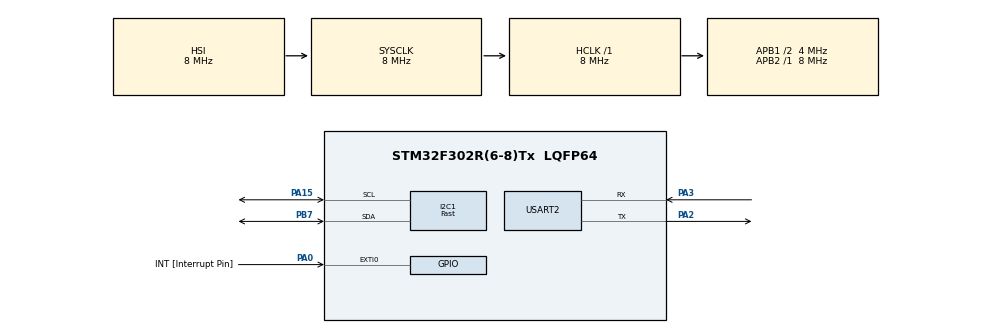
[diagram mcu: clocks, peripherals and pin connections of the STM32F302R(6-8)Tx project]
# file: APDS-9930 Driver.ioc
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I2C1.I2C_Speed_Mode=I2C_Fast
I2C1.OwnAddress=0
I2C1.Timing=0x0010020A
Mcu.Family=STM32F3
Mcu.Name=STM32F302R(6-8)Tx
Mcu.Package=LQFP64
NVIC.EXTI0_IRQn=true\:0\:0\:false\:false\:true\:true\:true\:true
NVIC.PriorityGroup=NVIC_PRIORITYGROUP_4
PA0.GPIO_Label=INT [Interrupt Pin]
PA0.GPIO_ModeDefaultEXTI=GPIO_MODE_IT_FALLING
PA0.GPIO_PuPd=GPIO_PULLUP
PA0.Signal=GPXTI0
PA13.Mode=Serial_Wire
PA13.Signal=SYS_JTMS-SWDIO
PA14.Mode=Serial_Wire
PA14.Signal=SYS_JTCK-SWCLK
PA15.GPIO_Pu=GPIO_NOPULL
PA15.Mode=I2C
PA15.Signal=I2C1_SCL
PA2.Mode=Asynchronous
PA2.Signal=USART2_TX
PA3.Mode=Asynchronous
PA3.Signal=USART2_RX
PB7.GPIO_Pu=GPIO_NOPULL
PB7.Mode=I2C
PB7.Signal=I2C1_SDA
ProjectManager.HeapSize=0x200
ProjectManager.StackSize=0x400
ProjectManager.TargetToolchain=STM32CubeIDE
RCC.AHBFreq_Value=8000000
RCC.APB1CLKDivider=RCC_HCLK_DIV2
RCC.APB1Freq_Value=4000000
RCC.APB1TimFreq_Value=8000000
RCC.APB2Freq_Value=8000000
RCC.APB2TimFreq_Value=8000000
RCC.CortexFreq_Value=8000000
RCC.HCLKFreq_Value=8000000
RCC.HSE_VALUE=8000000
RCC.HSI_VALUE=8000000
RCC.I2c1ClockSelection=RCC_I2C1CLKSOURCE_SYSCLK
RCC.LSE_VALUE=32768
RCC.PLLMUL=RCC_PLL_MUL9
RCC.SYSCLKFreq_VALUE=8000000
RCC.USBFreq_Value=36000000
USART2.VirtualMode-Asynchronous=VM_ASYNC
board=custom

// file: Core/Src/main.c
/* USER CODE BEGIN Header */
/**
  ******************************************************************************
  * @file           : main.c
  * @brief          : Main program body
  ******************************************************************************
  * @attention
  *
  * Copyright (c) 2024 STMicroelectronics.
  * All rights reserved.
  *
  * This software is licensed under terms that can be found in the LICENSE file
  * in the root directory of this software component.
  * If no LICENSE file comes with this software, it is provided AS-IS.
  *
  ******************************************************************************
  */
/* USER CODE END Header */
#include "main.h"

/* USER CODE BEGIN Includes */
#include <stdio.h>
#include <stdbool.h>
#include <stdint.h>

#include "APDS9930.h"
/* USER CODE END Includes */

I2C_HandleTypeDef hi2c1;

UART_HandleTypeDef huart2;

/* USER CODE BEGIN PV */
APDS9930_t dev;
bool cool = false;
char message[64];
/* USER CODE END PV */

void SystemClock_Config(void);
static void MX_GPIO_Init(void);
static void MX_I2C1_Init(void);
static void MX_USART2_UART_Init(void);

int main(void)
{

  /* MCU Configuration--------------------------------------------------------*/

  /* Reset of all peripherals, Initializes the Flash interface and the Systick. */
  HAL_Init();

  /* Configure the system clock */
  SystemClock_Config();

  /* Initialize all configured peripherals */
  MX_GPIO_Init();
  MX_I2C1_Init();
  MX_USART2_UART_Init();
  /* USER CODE BEGIN 2 */
  APDS9930_Init (&dev, &hi2c1);
  /* USER CODE END 2 */

  /* Infinite loop */
  /* USER CODE BEGIN WHILE */
  while (1)
  {
	  if (cool) {
		  APDS9930_ReadLux (&dev);
		  APDS9930_ReadProximity (&dev);

//		  sprintf (message, "lux: %.2f\r\nprox: %.2f\r\n\n", dev.lux, dev.prox);
		  sprintf (message, "prox: %.2f\r\n\n", dev.prox);
		  HAL_UART_Transmit (&huart2, (uint8_t *) message, 64, HAL_MAX_DELAY);
		  cool = false;

		  APDS9930_CLI_WriteRegister (&dev, APDS9930_REG_COMMAND_PROX_CLI);
	  }
    /* USER CODE END WHILE */

  }
}

void SystemClock_Config(void)
{
  RCC_OscInitTypeDef RCC_OscInitStruct = {0};
  RCC_ClkInitTypeDef RCC_ClkInitStruct = {0};
  RCC_PeriphCLKInitTypeDef PeriphClkInit = {0};

  /** Initializes the RCC Oscillators according to the specified parameters
  * in the RCC_OscInitTypeDef structure.
  */
  RCC_OscInitStruct.OscillatorType = RCC_OSCILLATORTYPE_HSI;
  RCC_OscInitStruct.HSIState = RCC_HSI_ON;
  RCC_OscInitStruct.HSICalibrationValue = RCC_HSICALIBRATION_DEFAULT;
  RCC_OscInitStruct.PLL.PLLState = RCC_PLL_NONE;
  if (HAL_RCC_OscConfig(&RCC_OscInitStruct) != HAL_OK)
  {
    Error_Handler();
  }

  /** Initializes the CPU, AHB and APB buses clocks
  */
  RCC_ClkInitStruct.ClockType = RCC_CLOCKTYPE_HCLK|RCC_CLOCKTYPE_SYSCLK
                              |RCC_CLOCKTYPE_PCLK1|RCC_CLOCKTYPE_PCLK2;
  RCC_ClkInitStruct.SYSCLKSource = RCC_SYSCLKSOURCE_HSI;
  RCC_ClkInitStruct.AHBCLKDivider = RCC_SYSCLK_DIV1;
  RCC_ClkInitStruct.APB1CLKDivider = RCC_HCLK_DIV2;
  RCC_ClkInitStruct.APB2CLKDivider = RCC_HCLK_DIV1;

  if (HAL_RCC_ClockConfig(&RCC_ClkInitStruct, FLASH_LATENCY_0) != HAL_OK)
  {
    Error_Handler();
  }
  PeriphClkInit.PeriphClockSelection = RCC_PERIPHCLK_I2C1;
  PeriphClkInit.I2c1ClockSelection = RCC_I2C1CLKSOURCE_SYSCLK;
  if (HAL_RCCEx_PeriphCLKConfig(&PeriphClkInit) != HAL_OK)
  {
    Error_Handler();
  }
}

static void MX_I2C1_Init(void)
{

  hi2c1.Instance = I2C1;
  hi2c1.Init.Timing = 0x0010020A;
  hi2c1.Init.OwnAddress1 = 0;
  hi2c1.Init.AddressingMode = I2C_ADDRESSINGMODE_7BIT;
  hi2c1.Init.DualAddressMode = I2C_DUALADDRESS_DISABLE;
  hi2c1.Init.OwnAddress2 = 0;
  hi2c1.Init.OwnAddress2Masks = I2C_OA2_NOMASK;
  hi2c1.Init.GeneralCallMode = I2C_GENERALCALL_DISABLE;
  hi2c1.Init.NoStretchMode = I2C_NOSTRETCH_DISABLE;
  if (HAL_I2C_Init(&hi2c1) != HAL_OK)
  {
    Error_Handler();
  }

  /** Configure Analogue filter
  */
  if (HAL_I2CEx_ConfigAnalogFilter(&hi2c1, I2C_ANALOGFILTER_ENABLE) != HAL_OK)
  {
    Error_Handler();
  }

  /** Configure Digital filter
  */
  if (HAL_I2CEx_ConfigDigitalFilter(&hi2c1, 0) != HAL_OK)
  {
    Error_Handler();
  }

}

static void MX_USART2_UART_Init(void)
{

  huart2.Instance = USART2;
  huart2.Init.BaudRate = 38400;
  huart2.Init.WordLength = UART_WORDLENGTH_8B;
  huart2.Init.StopBits = UART_STOPBITS_1;
  huart2.Init.Parity = UART_PARITY_NONE;
  huart2.Init.Mode = UART_MODE_TX_RX;
  huart2.Init.HwFlowCtl = UART_HWCONTROL_NONE;
  huart2.Init.OverSampling = UART_OVERSAMPLING_16;
  huart2.Init.OneBitSampling = UART_ONE_BIT_SAMPLE_DISABLE;
  huart2.AdvancedInit.AdvFeatureInit = UART_ADVFEATURE_NO_INIT;
  if (HAL_UART_Init(&huart2) != HAL_OK)
  {
    Error_Handler();
  }

}

static void MX_GPIO_Init(void)
{
  GPIO_InitTypeDef GPIO_InitStruct = {0};

  /* GPIO Ports Clock Enable */
  __HAL_RCC_GPIOA_CLK_ENABLE();
  __HAL_RCC_GPIOB_CLK_ENABLE();

  /*Configure GPIO pin : INT_Pin */
  GPIO_InitStruct.Pin = INT_Pin;
  GPIO_InitStruct.Mode = GPIO_MODE_IT_FALLING;
  GPIO_InitStruct.Pull = GPIO_PULLUP;
  HAL_GPIO_Init(INT_GPIO_Port, &GPIO_InitStruct);

  /* EXTI interrupt init*/
  HAL_NVIC_SetPriority(EXTI0_IRQn, 0, 0);
  HAL_NVIC_EnableIRQ(EXTI0_IRQn);

}

void Error_Handler(void)
{
  __disable_irq();
  while (1)
  {
  }
}
